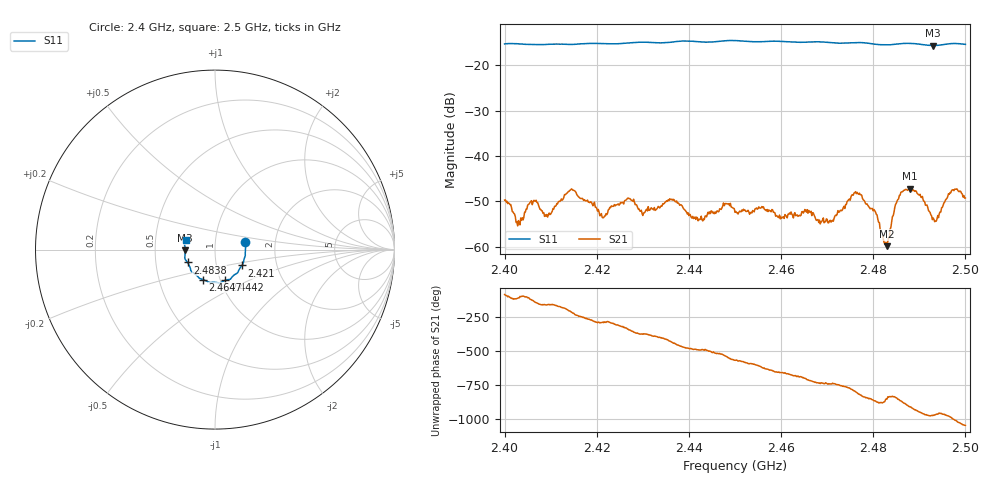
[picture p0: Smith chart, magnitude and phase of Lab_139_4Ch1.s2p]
# Hz S RI R 50
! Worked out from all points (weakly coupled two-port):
!   601 points, 2.4 GHz to 2.5 GHz, reference 50 ohm
!   highest |S21| = -47.19 dB at 2.488 GHz (marker M1); lowest = -59.9 dB at 2.483 GHz (marker M2)
!   lowest |S11| = -15.6 dB at 2.493 GHz (marker M3), VSWR 1.40, Z = 35.8 - j0.208 ohm
!   |S11| at or under -10 dB: start of sweep to end of sweep
!   S12 and S22 are empty: the file has one direction only
!   S11 on the Smith chart (normalised r, x): 2.4 GHz: 1.40, +0.12; 2.421 GHz: 1.33, -0.24; 2.4442 GHz: 1.05, -0.37; 2.4647 GHz: 0.83, -0.29; 2.4838 GHz: 0.73, -0.11; 2.5 GHz: 0.72, +0.08
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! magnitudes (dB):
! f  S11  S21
! 2.4 GHz  -15.3  -49.7
! 2.403 GHz  -15.2  -54.2
! 2.406 GHz  -15.4  -50.7
! 2.4092 GHz  -15.4  -52.9
! 2.4142 GHz  -15.4  -47.6
! 2.4167 GHz  -15.2  -49.4
! 2.421 GHz  -15.2  -52.7
! 2.4333 GHz  -15.0  -51.1
! 2.4442 GHz  -14.9  -52.4
! 2.45 GHz  -14.5  -52.4
! 2.4647 GHz  -14.9  -52.2
! 2.4667 GHz  -14.8  -53.1
! 2.4708 GHz  -15.0  -54.6
! 2.4765 GHz  -15.0  -48.0
! 2.483 GHz  -15.5  -59.9
! 2.4833 GHz  -15.5  -58.0
! 2.4838 GHz  -15.4  -55.7
! 2.4857 GHz  -15.2  -48.7
! 2.488 GHz  -15.1  -47.2
! 2.493 GHz  -15.6  -53.7
! 2.4972 GHz  -15.2  -47.4
! 2.5 GHz  -15.4  -49.3
